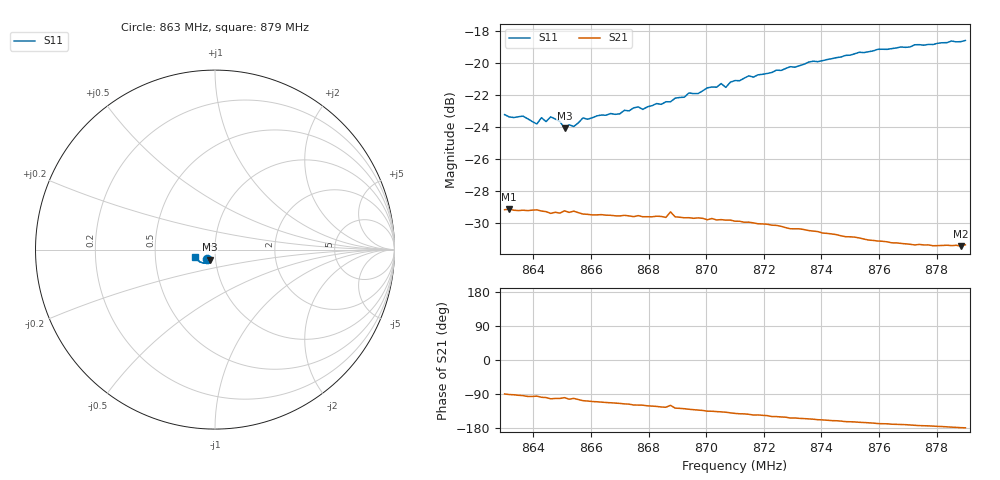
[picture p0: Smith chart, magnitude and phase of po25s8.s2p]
# HZ S RI R 50
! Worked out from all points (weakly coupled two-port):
!   101 points, 863 MHz to 879 MHz, reference 50 ohm
!   highest |S21| = -29.12 dB at 863.16 MHz (marker M1); lowest = -31.4 dB at 878.84 MHz (marker M2)
!   lowest |S11| = -24.1 dB at 865.08 MHz (marker M3), VSWR 1.13, Z = 46.9 - j5.21 ohm
!   |S11| at or under -10 dB: start of sweep to end of sweep
!   S12 and S22 are empty: the file has one direction only
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8.63e8  -0.0439 -0.0533  0.000275 -0.0348  0 0  0 0
8.6316e8  -0.0425 -0.053  -0.000702 -0.035  0 0  0 0
8.6364e8  -0.0415 -0.0543  -0.00246 -0.0346  0 0  0 0
8.6412e8  -0.0354 -0.054  -0.00324 -0.0347  0 0  0 0
8.6428e8  -0.039 -0.0551  -0.00501 -0.0342  0 0  0 0
8.6444e8  -0.0375 -0.0539  -0.00543 -0.0339  0 0  0 0
8.646e8  -0.0404 -0.0546  -0.00731 -0.0331  0 0  0 0
8.6492e8  -0.0345 -0.0559  -0.00679 -0.0333  0 0  0 0
8.6508e8  -0.0293 -0.0553  -0.0056 -0.0341  0 0  0 0
8.654e8  -0.0289 -0.0564  -0.00679 -0.0338  0 0  0 0
8.6572e8  -0.0339 -0.0583  -0.0101 -0.0323  0 0  0 0
8.6844e8  -0.0354 -0.0654  -0.0185 -0.0276  0 0  0 0
8.686e8  -0.0358 -0.0667  -0.0188 -0.0271  0 0  0 0
8.6876e8  -0.0296 -0.0697  -0.0169 -0.0298  0 0  0 0
8.6892e8  -0.0376 -0.068  -0.0199 -0.0265  0 0  0 0
8.7052e8  -0.0454 -0.0734  -0.0237 -0.0222  0 0  0 0
8.7068e8  -0.0438 -0.0716  -0.024 -0.0217  0 0  0 0
8.71e8  -0.0479 -0.074  -0.0249 -0.0202  0 0  0 0
8.7372e8  -0.0684 -0.0747  -0.0274 -0.012  0 0  0 0
8.7644e8  -0.0918 -0.0622  -0.027 -0.00504  0 0  0 0
8.7884e8  -0.1089 -0.0418  -0.0268 -0.000694  0 0  0 0
8.79e8  -0.1107 -0.0399  -0.0271 -0.000474  0 0  0 0
